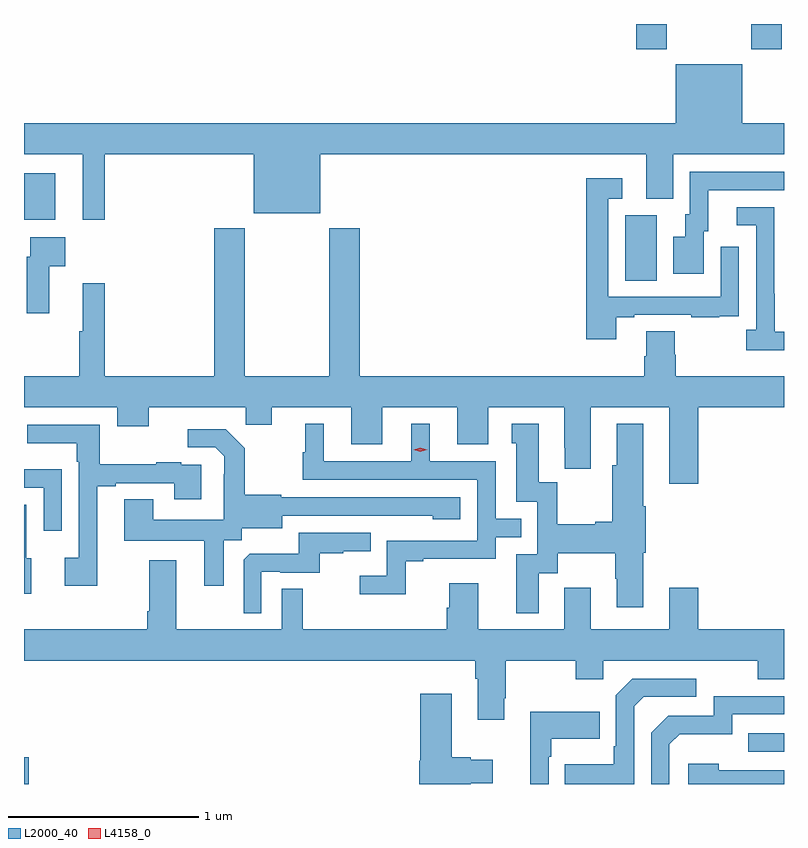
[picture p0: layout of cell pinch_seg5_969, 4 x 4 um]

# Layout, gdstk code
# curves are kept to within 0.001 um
import gdstk
lib = gdstk.Library(unit=1e-6, precision=1e-09)
def R(c, l, rs):  # rectangles x0, y0, x1, y1
    for r in rs: c.add(gdstk.rectangle(r[:2], r[2:], *l))
def P(c, l, *ps):  # polygons
    for p in ps: c.add(gdstk.Polygon(p, *l))
L2000_40 = (2000, 40)
L4158_0 = (4158, 0)

pinch_seg5_969 = lib.new_cell('pinch_seg5_969')
R(pinch_seg5_969, L2000_40, [(746.459,896.07,746.485,896.21), (750.271,896.241,750.459,896.337), (749.624,898.72,749.788,899.064), (746.459,899.039,746.623,899.284), (749.681,899.937,749.841,900.07), (750.286,899.937,750.446,900.07)])
P(pinch_seg5_969, L2000_40, [(746.885,899.384),(747.668,899.384),(747.668,899.075),(748.018,899.075),(748.018,899.384),(749.735,899.384),(749.735,899.149),(749.875,899.149),(749.875,899.384),(750.459,899.384),(750.459,899.548),(750.238,899.548),(750.238,899.857),(749.888,899.857),(749.888,899.548),(746.459,899.548),(746.459,899.384),(746.768,899.384),(746.768,899.04),(746.885,899.04)],
  [(750.037,898.98),(750.061,898.98),(750.061,899.196),(750.459,899.196),(750.459,899.292),(749.964,899.292),(749.964,899.07),(749.939,899.07),(749.939,898.951),(749.876,898.951),(749.876,898.755),(750.037,898.755)],
  [(749.575,898.527),(749.671,898.527),(749.671,898.539),(749.971,898.539),(749.971,898.527),(750.119,898.527),(750.119,898.533),(750.221,898.533),(750.221,898.642),(750.222,898.642),(750.222,898.897),(750.126,898.897),(750.126,898.635),(749.535,898.635),(749.535,899.151),(749.608,899.151),(749.608,899.257),(749.419,899.257),(749.419,898.41),(749.575,898.41)],
  [(750.459,898.449),(750.409,898.449),(750.409,898.649),(750.408,898.649),(750.408,899.106),(750.21,899.106),(750.21,899.01),(750.312,899.01),(750.312,898.462),(750.261,898.462),(750.261,898.352),(750.459,898.352)],
  [(750.008,898.052),(750.459,898.052),(750.459,898.216),(749.888,898.216),(749.888,898.329),(749.883,898.329),(749.883,898.454),(749.735,898.454),(749.735,898.322),(749.723,898.322),(749.723,898.216),(748.226,898.216),(748.226,898.996),(748.066,898.996),(748.066,898.216),(747.621,898.216),(747.621,898.996),(747.461,898.996),(747.461,898.216),(746.885,898.216),(746.885,898.705),(746.768,898.705),(746.768,898.452),(746.749,898.452),(746.749,898.216),(746.459,898.216),(746.459,898.052),(746.951,898.052),(746.951,897.953),(747.115,897.953),(747.115,898.052),(747.625,898.052),(747.625,897.962),(747.763,897.962),(747.763,898.052),(748.181,898.052),(748.181,897.858),(748.345,897.858),(748.345,898.052),(748.739,898.052),(748.739,897.858),(748.903,897.858),(748.903,898.052),(749.303,898.052),(749.303,897.841),(749.306,897.841),(749.306,897.729),(749.443,897.729),(749.443,898.052),(749.855,898.052),(749.855,897.651),(750.008,897.651)],
  [(746.591,898.796),(746.677,898.796),(746.677,898.948),(746.493,898.948),(746.493,898.844),(746.473,898.844),(746.473,898.548),(746.591,898.548)],
  [(749.167,897.178),(749.269,897.178),(749.269,897.284),(749.572,897.284),(749.572,897.15),(749.579,897.15),(749.579,897),(749.719,897),(749.719,897.288),(749.732,897.288),(749.732,897.532),(749.719,897.532),(749.719,897.967),(749.579,897.967),(749.579,897.747),(749.554,897.747),(749.554,897.449),(749.465,897.449),(749.465,897.436),(749.265,897.436),(749.265,897.659),(749.167,897.659),(749.167,897.967),(749.027,897.967),(749.027,897.864),(749.051,897.864),(749.051,897.555),(749.16,897.555),(749.16,897.279),(749.051,897.279),(749.051,896.97),(749.167,896.97)],
  [(748.467,897.243),(748.561,897.243),(748.561,897.255),(748.941,897.255),(748.941,897.369),(749.075,897.369),(749.075,897.465),(748.941,897.465),(748.941,897.768),(748.594,897.768),(748.594,897.967),(748.496,897.967),(748.496,897.768),(748.036,897.768),(748.036,897.967),(747.938,897.967),(747.938,897.816),(747.927,897.816),(747.927,897.672),(748.845,897.672),(748.845,897.351),(748.368,897.351),(748.368,897.166),(748.227,897.166),(748.227,897.068),(748.467,897.068)],
  [(746.845,897.636),(746.941,897.636),(746.941,897.654),(747.251,897.654),(747.251,897.57),(747.391,897.57),(747.391,897.75),(747.287,897.75),(747.287,897.763),(747.155,897.763),(747.155,897.752),(746.857,897.752),(746.857,897.96),(746.475,897.96),(746.475,897.863),(746.736,897.863),(746.736,897.767),(746.748,897.767),(746.748,897.262),(746.673,897.262),(746.673,897.114),(746.845,897.114)],
  [(747.511,897.352),(747.606,897.352),(747.606,897.416),(747.817,897.416),(747.817,897.483),(748.611,897.482),(748.611,897.464),(748.756,897.464),(748.756,897.579),(747.813,897.579),(747.813,897.592),(747.621,897.592),(747.621,897.837),(747.521,897.937),(747.321,897.937),(747.321,897.843),(747.465,897.843),(747.512,897.796),(747.512,897.701),(747.51,897.701),(747.51,897.46),(747.139,897.46),(747.139,897.569),(746.987,897.569),(746.987,897.35),(747.407,897.35),(747.407,897.114),(747.511,897.114)],
  [(746.658,897.727),(746.459,897.727),(746.459,897.63),(746.562,897.63),(746.562,897.402),(746.658,897.402)],
  [(746.497,897.258),(746.472,897.258),(746.472,897.54),(746.459,897.54),(746.459,897.071),(746.497,897.071)],
  [(747.708,897.186),(747.808,897.186),(747.808,897.183),(748.016,897.183),(748.016,897.285),(748.139,897.285),(748.139,897.296),(748.283,897.296),(748.283,897.393),(747.906,897.393),(747.906,897.281),(747.647,897.281),(747.615,897.249),(747.615,896.969),(747.708,896.969)],
  [(748.987,896.521),(748.995,896.521),(748.995,896.72),(749.362,896.72),(749.362,896.621),(749.508,896.621),(749.508,896.72),(750.322,896.72),(750.322,896.621),(750.459,896.621),(750.459,896.884),(750.008,896.884),(750.008,897.103),(749.855,897.103),(749.855,896.884),(749.443,896.884),(749.443,897.103),(749.303,897.103),(749.303,896.884),(748.849,896.884),(748.849,897.127),(748.697,897.127),(748.697,896.997),(748.685,896.997),(748.685,896.884),(747.925,896.884),(747.925,897.098),(747.816,897.098),(747.816,896.884),(747.259,896.884),(747.259,897.247),(747.119,897.247),(747.119,896.98),(747.107,896.98),(747.107,896.884),(746.459,896.884),(746.459,896.72),(748.835,896.72),(748.835,896.624),(748.847,896.624),(748.847,896.409),(748.987,896.409)],
  [(749.67,896.478),(749.721,896.529),(749.998,896.529),(749.998,896.625),(749.661,896.625),(749.574,896.538),(749.574,896.269),(749.562,896.269),(749.562,896.173),(749.305,896.173),(749.305,896.07),(749.67,896.07)],
  [(748.811,896.075),(748.927,896.075),(748.927,896.197),(748.811,896.197),(748.811,896.21),(748.711,896.21),(748.711,896.545),(748.544,896.545),(748.544,896.193),(748.538,896.193),(748.538,896.07),(748.811,896.07)],
  [(749.856,896.28),(749.909,896.333),(750.186,896.333),(750.186,896.436),(750.459,896.436),(750.459,896.532),(750.09,896.532),(750.09,896.43),(749.85,896.43),(749.76,896.34),(749.76,896.07),(749.856,896.07)],
  [(749.22,896.213),(749.233,896.213),(749.233,896.309),(749.489,896.309),(749.489,896.449),(749.123,896.449),(749.123,896.07),(749.22,896.07)],
  [(750.459,896.142),(750.116,896.142),(750.116,896.176),(749.955,896.176),(749.955,896.07),(750.459,896.07)])
P(pinch_seg5_969, L4158_0, [(748.545,897.82),(748.509,897.83),(748.509,897.83),(748.509,897.83),(748.545,897.84),(748.581,897.83),(748.581,897.83),(748.581,897.83)])

lib.write_gds('pinch_seg5_969.gds')
